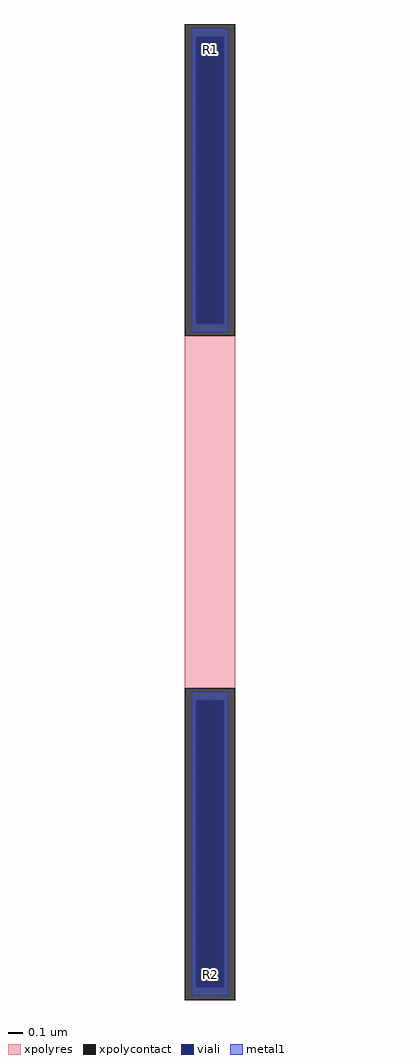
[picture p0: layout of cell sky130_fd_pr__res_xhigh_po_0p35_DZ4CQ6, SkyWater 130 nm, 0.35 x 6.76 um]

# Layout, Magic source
magic
tech sky130A
magscale 1 2
<< xpolycontact >>
rect -35 244 35 676
rect -35 -676 35 -244
<< xpolyres >>
rect -35 -244 35 244
<< viali >>
rect -19 261 19 658
rect -19 -658 19 -261
<< metal1 >>
rect -25 658 25 670
rect -25 261 -19 658
rect 19 261 25 658
rect -25 249 25 261
rect -25 -261 25 -249
rect -25 -658 -19 -261
rect 19 -658 25 -261
rect -25 -670 25 -658
<< labels >>
rlabel xpolycontact 0 641 0 641 0 R1
port 1 nsew
rlabel xpolycontact 0 -641 0 -641 0 R2
port 2 nsew
<< properties >>
string gencell sky130_fd_pr__res_xhigh_po_0p35
string library sky130
string parameters w 0.350 l 2.6 m 1 nx 1 wmin 0.350 lmin 0.50 class resistor rho 2000 val 15.932k dummy 0 dw 0.0 term 188.2 sterm 0.0 caplen 0 wmax 0.350 guard 0 glc 1 grc 1 gtc 1 gbc 1 compatible {sky130_fd_pr__res_xhigh_po_0p35  sky130_fd_pr__res_xhigh_po_0p69 sky130_fd_pr__res_xhigh_po_1p41  sky130_fd_pr__res_xhigh_po_2p85 sky130_fd_pr__res_xhigh_po_5p73} snake 0 full_metal 1 n_guard 0 hv_guard 0 vias 1 viagb 0 viagt 0 viagl 0 viagr 0 doports 1
<< end >>
